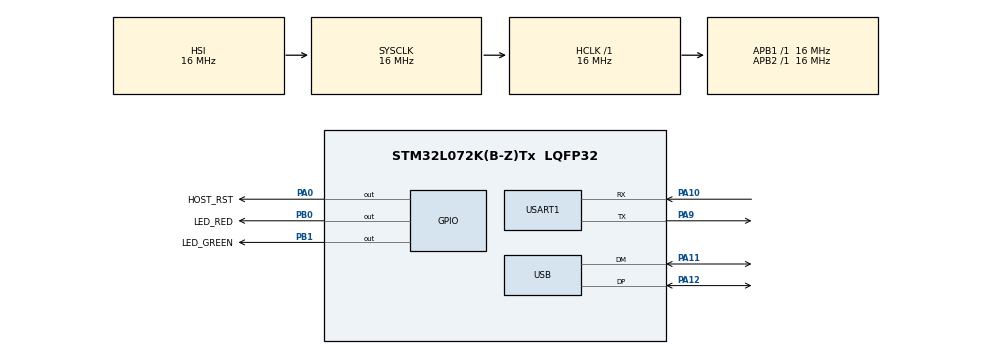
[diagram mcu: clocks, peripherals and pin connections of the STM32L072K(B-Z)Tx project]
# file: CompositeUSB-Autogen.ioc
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ADC.ClockPrescaler=ADC_CLOCK_ASYNC_DIV2
ADC.DMAContinuousRequests=ENABLE
ADC.DiscontinuousConvMode=DISABLE
ADC.EnableAnalogWatchDog=false
ADC.ExternalTrigConv=ADC_EXTERNALTRIGCONV_T3_TRGO
ADC.SamplingTime=ADC_SAMPLETIME_160CYCLES_5
Dma.ADC.0.Direction=DMA_PERIPH_TO_MEMORY
Dma.ADC.0.Instance=DMA1_Channel1
Dma.ADC.0.MemDataAlignment=DMA_MDATAALIGN_HALFWORD
Dma.ADC.0.MemInc=DMA_MINC_ENABLE
Dma.ADC.0.Mode=DMA_CIRCULAR
Dma.ADC.0.PeriphDataAlignment=DMA_PDATAALIGN_HALFWORD
Dma.ADC.0.PeriphInc=DMA_PINC_DISABLE
Dma.ADC.0.Priority=DMA_PRIORITY_LOW
Dma.Request0=ADC
Dma.Request1=USART1_TX
Dma.USART1_TX.1.Direction=DMA_MEMORY_TO_PERIPH
Dma.USART1_TX.1.Instance=DMA1_Channel2
Dma.USART1_TX.1.MemDataAlignment=DMA_MDATAALIGN_BYTE
Dma.USART1_TX.1.MemInc=DMA_MINC_ENABLE
Dma.USART1_TX.1.Mode=DMA_NORMAL
Dma.USART1_TX.1.PeriphDataAlignment=DMA_PDATAALIGN_BYTE
Dma.USART1_TX.1.PeriphInc=DMA_PINC_DISABLE
Dma.USART1_TX.1.Priority=DMA_PRIORITY_LOW
Mcu.Family=STM32L0
Mcu.Name=STM32L072K(B-Z)Tx
Mcu.Package=LQFP32
NVIC.ADC1_COMP_IRQn=true\:0\:0\:false\:false\:true\:true\:true\:true
NVIC.DMA1_Channel1_IRQn=true\:0\:0\:false\:false\:true\:false\:true\:true
NVIC.DMA1_Channel2_3_IRQn=true\:0\:0\:false\:false\:true\:false\:true\:true
NVIC.TIM3_IRQn=true\:0\:0\:false\:false\:true\:true\:true\:true
NVIC.TIM6_DAC_IRQn=true\:0\:0\:false\:false\:true\:true\:true\:true
NVIC.USART1_IRQn=true\:0\:0\:false\:false\:true\:true\:true\:true
NVIC.USB_IRQn=true\:0\:0\:false\:false\:true\:true\:true\:true
PA0.GPIO_Label=HOST_RST
PA0.GPIO_ModeDefaultOutputPP=GPIO_MODE_OUTPUT_OD
PA0.GPIO_PuPd=GPIO_PULLUP
PA0.PinState=GPIO_PIN_SET
PA0.Signal=GPIO_Output
PA10.Mode=Asynchronous
PA10.Signal=USART1_RX
PA11.Mode=Device
PA11.Signal=USB_DM
PA12.Mode=Device
PA12.Signal=USB_DP
PA13.Mode=Serial_Wire
PA13.Signal=SYS_SWDIO
PA14.Mode=Serial_Wire
PA14.Signal=SYS_SWCLK
PA9.Mode=Asynchronous
PA9.Signal=USART1_TX
PB0.GPIO_Label=LED_RED
PB0.Signal=GPIO_Output
PB1.GPIO_Label=LED_GREEN
PB1.Signal=GPIO_Output
ProjectManager.HeapSize=0x200
ProjectManager.StackSize=0x400
ProjectManager.TargetToolchain=STM32CubeIDE
RCC.AHBFreq_Value=16000000
RCC.APB1Freq_Value=16000000
RCC.APB1TimFreq_Value=16000000
RCC.APB2Freq_Value=16000000
RCC.APB2TimFreq_Value=16000000
RCC.HCLKFreq_Value=16000000
RCC.HSI16_VALUE=16000000
RCC.HSI48MClockSelection=RCC_USBCLKSOURCE_HSI48
RCC.HSI48_VALUE=48000000
RCC.HSI_VALUE=16000000
RCC.LSE_VALUE=32768
RCC.MSI_VALUE=2097000
RCC.PLLMUL=RCC_PLLMUL_6
RCC.SYSCLKFreq_VALUE=16000000
RCC.SYSCLKSource=RCC_SYSCLKSOURCE_HSI
RCC.VCOOutputFreq_Value=96000000
TIM3.AutoReloadPreload=TIM_AUTORELOAD_PRELOAD_ENABLE
TIM3.ClockDivision=TIM_CLOCKDIVISION_DIV1
TIM3.CounterMode=TIM_COUNTERMODE_DOWN
TIM3.Period=140
TIM3.Prescaler=512
TIM3.TIM_MasterOutputTrigger=TIM_TRGO_UPDATE
TIM3.TIM_MasterSlaveMode=TIM_MASTERSLAVEMODE_DISABLE
TIM6.Period=4000
TIM6.Prescaler=15
USART1.VirtualMode-Asynchronous=VM_ASYNC
USB_DEVICE.CLASS_NAME_FS=CUSTOM_HID
USB_DEVICE.VirtualMode=CustomHid
USB_DEVICE.VirtualModeFS=Custom_Hid_FS
VP_ADC_TempSens_Input.Mode=IN-TempSens
VP_ADC_Vref_Input.Mode=IN-Vrefint
VP_TIM3_VS_ClockSourceINT.Mode=Internal
VP_TIM6_VS_ClockSourceINT.Mode=Enable_Timer
VP_USB_DEVICE_VS_USB_DEVICE_CUSTOM_HID_FS.Mode=CUSTOM_HID_FS
board=custom

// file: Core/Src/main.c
/* USER CODE BEGIN Header */
/**
  ******************************************************************************
  * @file           : main.c
  * @brief          : Main program body
  ******************************************************************************
  * @attention
  *
  * Copyright (c) 2022 STMicroelectronics.
  * All rights reserved.
  *
  * This software is licensed under terms that can be found in the LICENSE file
  * in the root directory of this software component.
  * If no LICENSE file comes with this software, it is provided AS-IS.
  *
  ******************************************************************************
  */
/* USER CODE END Header */
#include "main.h"
#include "usb_device.h"

/* USER CODE BEGIN Includes */
#include "imon.h"
/* USER CODE END Includes */

 ADC_HandleTypeDef hadc;
DMA_HandleTypeDef hdma_adc;

TIM_HandleTypeDef htim3;
TIM_HandleTypeDef htim6;

UART_HandleTypeDef huart1;
DMA_HandleTypeDef hdma_usart1_tx;

/* USER CODE BEGIN PV */
#define ADC_CH_NUM 2
int16_t g_adc_samples[ADC_CH_NUM];		/* DMA destination */

/* USER CODE END PV */

void SystemClock_Config(void);
static void MX_DMA_Init(void);
static void MX_ADC_Init(void);
static void MX_GPIO_Init(void);
static void MX_USART1_UART_Init(void);
static void MX_TIM3_Init(void);
static void MX_TIM6_Init(void);

/* USER CODE BEGIN 0 */
void HAL_ADC_ConvCpltCallback(ADC_HandleTypeDef* hadc)
{
  /* Prevent unused argument(s) compilation warning */
  UNUSED(hadc);
  imon_adc_completed();
}

/* USER CODE END 0 */

int main(void)
{

  /* MCU Configuration--------------------------------------------------------*/

  /* Reset of all peripherals, Initializes the Flash interface and the Systick. */
  HAL_Init();

  __disable_irq();

  /* Configure the system clock */
  SystemClock_Config();

  /* Initialize all configured peripherals */
  MX_DMA_Init();
  MX_ADC_Init();
  MX_GPIO_Init();
  MX_USART1_UART_Init();
  MX_TIM3_Init();
  MX_USB_DEVICE_Init();
  MX_TIM6_Init();
  /* USER CODE BEGIN 2 */
  imon_init(&g_adc_samples[1], &g_adc_samples[0]);

  HAL_TIM_Base_Start_IT(&htim6);

  HAL_ADC_Start_DMA(&hadc, (uint32_t*)&g_adc_samples[0], ADC_CH_NUM);
  HAL_TIM_Base_Start_IT(&htim3);

  __enable_irq();
  /* USER CODE END 2 */

  /* Infinite loop */
  /* USER CODE BEGIN WHILE */
  while (1)
  {
    uint32_t now_tick = HAL_GetTick();
    imon_on_idle(now_tick);
    /* USER CODE END WHILE */

  }
}

void SystemClock_Config(void)
{
  RCC_OscInitTypeDef RCC_OscInitStruct = {0};
  RCC_ClkInitTypeDef RCC_ClkInitStruct = {0};
  RCC_PeriphCLKInitTypeDef PeriphClkInit = {0};

  /** Configure the main internal regulator output voltage
  */
  __HAL_PWR_VOLTAGESCALING_CONFIG(PWR_REGULATOR_VOLTAGE_SCALE1);

  /** Initializes the RCC Oscillators according to the specified parameters
  * in the RCC_OscInitTypeDef structure.
  */
  RCC_OscInitStruct.OscillatorType = RCC_OSCILLATORTYPE_HSI|RCC_OSCILLATORTYPE_HSI48;
  RCC_OscInitStruct.HSIState = RCC_HSI_ON;
  RCC_OscInitStruct.HSICalibrationValue = RCC_HSICALIBRATION_DEFAULT;
  RCC_OscInitStruct.HSI48State = RCC_HSI48_ON;
  RCC_OscInitStruct.PLL.PLLState = RCC_PLL_NONE;
  if (HAL_RCC_OscConfig(&RCC_OscInitStruct) != HAL_OK)
  {
    Error_Handler();
  }

  /** Initializes the CPU, AHB and APB buses clocks
  */
  RCC_ClkInitStruct.ClockType = RCC_CLOCKTYPE_HCLK|RCC_CLOCKTYPE_SYSCLK
                              |RCC_CLOCKTYPE_PCLK1|RCC_CLOCKTYPE_PCLK2;
  RCC_ClkInitStruct.SYSCLKSource = RCC_SYSCLKSOURCE_HSI;
  RCC_ClkInitStruct.AHBCLKDivider = RCC_SYSCLK_DIV1;
  RCC_ClkInitStruct.APB1CLKDivider = RCC_HCLK_DIV1;
  RCC_ClkInitStruct.APB2CLKDivider = RCC_HCLK_DIV1;

  if (HAL_RCC_ClockConfig(&RCC_ClkInitStruct, FLASH_LATENCY_0) != HAL_OK)
  {
    Error_Handler();
  }
  PeriphClkInit.PeriphClockSelection = RCC_PERIPHCLK_USART1|RCC_PERIPHCLK_USB;
  PeriphClkInit.Usart1ClockSelection = RCC_USART1CLKSOURCE_PCLK2;
  PeriphClkInit.UsbClockSelection = RCC_USBCLKSOURCE_HSI48;
  if (HAL_RCCEx_PeriphCLKConfig(&PeriphClkInit) != HAL_OK)
  {
    Error_Handler();
  }
}

static void MX_ADC_Init(void)
{

  ADC_ChannelConfTypeDef sConfig = {0};

  /** Configure the global features of the ADC (Clock, Resolution, Data Alignment and number of conversion)
  */
  hadc.Instance = ADC1;
  hadc.Init.OversamplingMode = DISABLE;
  hadc.Init.ClockPrescaler = ADC_CLOCK_ASYNC_DIV2;
  hadc.Init.Resolution = ADC_RESOLUTION_12B;
  hadc.Init.SamplingTime = ADC_SAMPLETIME_160CYCLES_5;
  hadc.Init.ScanConvMode = ADC_SCAN_DIRECTION_FORWARD;
  hadc.Init.DataAlign = ADC_DATAALIGN_RIGHT;
  hadc.Init.ContinuousConvMode = DISABLE;
  hadc.Init.DiscontinuousConvMode = DISABLE;
  hadc.Init.ExternalTrigConvEdge = ADC_EXTERNALTRIGCONVEDGE_RISING;
  hadc.Init.ExternalTrigConv = ADC_EXTERNALTRIGCONV_T3_TRGO;
  hadc.Init.DMAContinuousRequests = ENABLE;
  hadc.Init.EOCSelection = ADC_EOC_SINGLE_CONV;
  hadc.Init.Overrun = ADC_OVR_DATA_PRESERVED;
  hadc.Init.LowPowerAutoWait = DISABLE;
  hadc.Init.LowPowerFrequencyMode = DISABLE;
  hadc.Init.LowPowerAutoPowerOff = DISABLE;
  if (HAL_ADC_Init(&hadc) != HAL_OK)
  {
    Error_Handler();
  }

  /** Configure for the selected ADC regular channel to be converted.
  */
  sConfig.Channel = ADC_CHANNEL_TEMPSENSOR;
  sConfig.Rank = ADC_RANK_CHANNEL_NUMBER;
  if (HAL_ADC_ConfigChannel(&hadc, &sConfig) != HAL_OK)
  {
    Error_Handler();
  }

  /** Configure for the selected ADC regular channel to be converted.
  */
  sConfig.Channel = ADC_CHANNEL_VREFINT;
  if (HAL_ADC_ConfigChannel(&hadc, &sConfig) != HAL_OK)
  {
    Error_Handler();
  }
  /* USER CODE BEGIN ADC_Init 2 */
  LL_ADC_StartCalibration(ADC1);
  while (LL_ADC_IsCalibrationOnGoing(ADC1)) {
    __asm__ __volatile__ ("nop;nop;nop;nop;" ::);
  };
  /* USER CODE END ADC_Init 2 */

}

static void MX_TIM3_Init(void)
{

  TIM_ClockConfigTypeDef sClockSourceConfig = {0};
  TIM_MasterConfigTypeDef sMasterConfig = {0};

  htim3.Instance = TIM3;
  htim3.Init.Prescaler = 512;
  htim3.Init.CounterMode = TIM_COUNTERMODE_DOWN;
  htim3.Init.Period = 140;
  htim3.Init.ClockDivision = TIM_CLOCKDIVISION_DIV1;
  htim3.Init.AutoReloadPreload = TIM_AUTORELOAD_PRELOAD_ENABLE;
  if (HAL_TIM_Base_Init(&htim3) != HAL_OK)
  {
    Error_Handler();
  }
  sClockSourceConfig.ClockSource = TIM_CLOCKSOURCE_INTERNAL;
  if (HAL_TIM_ConfigClockSource(&htim3, &sClockSourceConfig) != HAL_OK)
  {
    Error_Handler();
  }
  sMasterConfig.MasterOutputTrigger = TIM_TRGO_UPDATE;
  sMasterConfig.MasterSlaveMode = TIM_MASTERSLAVEMODE_DISABLE;
  if (HAL_TIMEx_MasterConfigSynchronization(&htim3, &sMasterConfig) != HAL_OK)
  {
    Error_Handler();
  }

}

static void MX_TIM6_Init(void)
{

  TIM_MasterConfigTypeDef sMasterConfig = {0};

  htim6.Instance = TIM6;
  htim6.Init.Prescaler = 15;
  htim6.Init.CounterMode = TIM_COUNTERMODE_UP;
  htim6.Init.Period = 4000;
  htim6.Init.AutoReloadPreload = TIM_AUTORELOAD_PRELOAD_DISABLE;
  if (HAL_TIM_Base_Init(&htim6) != HAL_OK)
  {
    Error_Handler();
  }
  sMasterConfig.MasterOutputTrigger = TIM_TRGO_RESET;
  sMasterConfig.MasterSlaveMode = TIM_MASTERSLAVEMODE_DISABLE;
  if (HAL_TIMEx_MasterConfigSynchronization(&htim6, &sMasterConfig) != HAL_OK)
  {
    Error_Handler();
  }

}

static void MX_USART1_UART_Init(void)
{

  huart1.Instance = USART1;
  huart1.Init.BaudRate = 115200;
  huart1.Init.WordLength = UART_WORDLENGTH_8B;
  huart1.Init.StopBits = UART_STOPBITS_1;
  huart1.Init.Parity = UART_PARITY_NONE;
  huart1.Init.Mode = UART_MODE_TX_RX;
  huart1.Init.HwFlowCtl = UART_HWCONTROL_NONE;
  huart1.Init.OverSampling = UART_OVERSAMPLING_16;
  huart1.Init.OneBitSampling = UART_ONE_BIT_SAMPLE_DISABLE;
  huart1.AdvancedInit.AdvFeatureInit = UART_ADVFEATURE_NO_INIT;
  if (HAL_UART_Init(&huart1) != HAL_OK)
  {
    Error_Handler();
  }

}

static void MX_DMA_Init(void)
{

  /* DMA controller clock enable */
  __HAL_RCC_DMA1_CLK_ENABLE();

  /* DMA interrupt init */
  /* DMA1_Channel1_IRQn interrupt configuration */
  HAL_NVIC_SetPriority(DMA1_Channel1_IRQn, 0, 0);
  HAL_NVIC_EnableIRQ(DMA1_Channel1_IRQn);
  /* DMA1_Channel2_3_IRQn interrupt configuration */
  HAL_NVIC_SetPriority(DMA1_Channel2_3_IRQn, 0, 0);
  HAL_NVIC_EnableIRQ(DMA1_Channel2_3_IRQn);

}

static void MX_GPIO_Init(void)
{
  GPIO_InitTypeDef GPIO_InitStruct = {0};

  /* GPIO Ports Clock Enable */
  __HAL_RCC_GPIOA_CLK_ENABLE();
  __HAL_RCC_GPIOB_CLK_ENABLE();

  /*Configure GPIO pin Output Level */
  HAL_GPIO_WritePin(HOST_RST_GPIO_Port, HOST_RST_Pin, GPIO_PIN_SET);

  /*Configure GPIO pin Output Level */
  HAL_GPIO_WritePin(GPIOB, LED_RED_Pin|LED_GREEN_Pin, GPIO_PIN_RESET);

  /*Configure GPIO pin : HOST_RST_Pin */
  GPIO_InitStruct.Pin = HOST_RST_Pin;
  GPIO_InitStruct.Mode = GPIO_MODE_OUTPUT_OD;
  GPIO_InitStruct.Pull = GPIO_PULLUP;
  GPIO_InitStruct.Speed = GPIO_SPEED_FREQ_LOW;
  HAL_GPIO_Init(HOST_RST_GPIO_Port, &GPIO_InitStruct);

  /*Configure GPIO pins : LED_RED_Pin LED_GREEN_Pin */
  GPIO_InitStruct.Pin = LED_RED_Pin|LED_GREEN_Pin;
  GPIO_InitStruct.Mode = GPIO_MODE_OUTPUT_PP;
  GPIO_InitStruct.Pull = GPIO_NOPULL;
  GPIO_InitStruct.Speed = GPIO_SPEED_FREQ_LOW;
  HAL_GPIO_Init(GPIOB, &GPIO_InitStruct);

}

void Error_Handler(void)
{
  __disable_irq();
  while (1)
  {
  }
}
